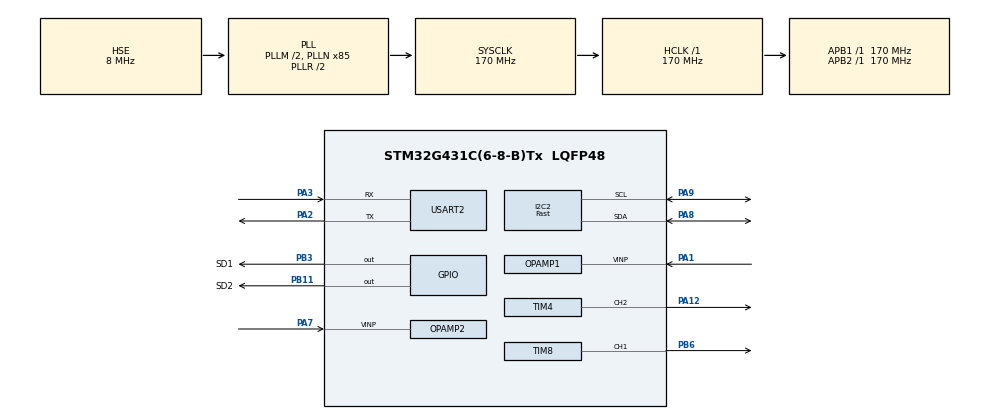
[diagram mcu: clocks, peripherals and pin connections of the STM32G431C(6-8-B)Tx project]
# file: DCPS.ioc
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ADC1.Channel-0\#ChannelRegularConversion=ADC_CHANNEL_VOPAMP1
ADC1.ContinuousConvMode=ENABLE
ADC1.DMAContinuousRequests=DISABLE
ADC1.NbrOfConversion=1
ADC1.NbrOfConversionFlag=1
ADC1.OffsetNumber-0\#ChannelRegularConversion=ADC_OFFSET_NONE
ADC1.Overrun=ADC_OVR_DATA_OVERWRITTEN
ADC1.OversamplingMode=ENABLE
ADC1.Rank-0\#ChannelRegularConversion=1
ADC1.Ratio=ADC_OVERSAMPLING_RATIO_8
ADC1.RightBitShift=ADC_RIGHTBITSHIFT_3
ADC1.SamplingTime-0\#ChannelRegularConversion=ADC_SAMPLETIME_12CYCLES_5
ADC1.master=1
ADC2.Channel-0\#ChannelRegularConversion=ADC_CHANNEL_VOPAMP2
ADC2.ContinuousConvMode=ENABLE
ADC2.NbrOfConversionFlag=1
ADC2.OffsetNumber-0\#ChannelRegularConversion=ADC_OFFSET_NONE
ADC2.Overrun=ADC_OVR_DATA_OVERWRITTEN
ADC2.OversamplingMode=ENABLE
ADC2.Rank-0\#ChannelRegularConversion=1
ADC2.Ratio=ADC_OVERSAMPLING_RATIO_8
ADC2.RightBitShift=ADC_RIGHTBITSHIFT_3
ADC2.SamplingTime-0\#ChannelRegularConversion=ADC_SAMPLETIME_12CYCLES_5
Dma.Request0=USART2_TX
Dma.Request1=USART2_RX
Dma.USART2_RX.1.Direction=DMA_PERIPH_TO_MEMORY
Dma.USART2_RX.1.EventEnable=DISABLE
Dma.USART2_RX.1.Instance=DMA1_Channel2
Dma.USART2_RX.1.MemDataAlignment=DMA_MDATAALIGN_BYTE
Dma.USART2_RX.1.MemInc=DMA_MINC_ENABLE
Dma.USART2_RX.1.Mode=DMA_NORMAL
Dma.USART2_RX.1.PeriphDataAlignment=DMA_PDATAALIGN_BYTE
Dma.USART2_RX.1.PeriphInc=DMA_PINC_DISABLE
Dma.USART2_RX.1.Polarity=HAL_DMAMUX_REQ_GEN_RISING
Dma.USART2_RX.1.Priority=DMA_PRIORITY_LOW
Dma.USART2_RX.1.RequestNumber=1
Dma.USART2_RX.1.SignalID=NONE
Dma.USART2_RX.1.SyncEnable=DISABLE
Dma.USART2_RX.1.SyncPolarity=HAL_DMAMUX_SYNC_NO_EVENT
Dma.USART2_RX.1.SyncRequestNumber=1
Dma.USART2_RX.1.SyncSignalID=NONE
Dma.USART2_TX.0.Direction=DMA_MEMORY_TO_PERIPH
Dma.USART2_TX.0.EventEnable=DISABLE
Dma.USART2_TX.0.Instance=DMA1_Channel1
Dma.USART2_TX.0.MemDataAlignment=DMA_MDATAALIGN_BYTE
Dma.USART2_TX.0.MemInc=DMA_MINC_ENABLE
Dma.USART2_TX.0.Mode=DMA_NORMAL
Dma.USART2_TX.0.PeriphDataAlignment=DMA_PDATAALIGN_BYTE
Dma.USART2_TX.0.PeriphInc=DMA_PINC_DISABLE
Dma.USART2_TX.0.Polarity=HAL_DMAMUX_REQ_GEN_RISING
Dma.USART2_TX.0.Priority=DMA_PRIORITY_LOW
Dma.USART2_TX.0.RequestNumber=1
Dma.USART2_TX.0.SignalID=NONE
Dma.USART2_TX.0.SyncEnable=DISABLE
Dma.USART2_TX.0.SyncPolarity=HAL_DMAMUX_SYNC_NO_EVENT
Dma.USART2_TX.0.SyncRequestNumber=1
Dma.USART2_TX.0.SyncSignalID=NONE
I2C2.I2C_Speed_Mode=I2C_Fast
I2C2.Timing=0x40621236
Mcu.Family=STM32G4
Mcu.Name=STM32G431C(6-8-B)Tx
Mcu.Package=LQFP48
NVIC.DMA1_Channel1_IRQn=true\:0\:0\:false\:false\:true\:false\:true\:true
NVIC.DMA1_Channel2_IRQn=true\:0\:0\:true\:false\:true\:false\:true\:true
NVIC.PriorityGroup=NVIC_PRIORITYGROUP_4
NVIC.TIM3_IRQn=true\:1\:0\:true\:false\:true\:true\:true\:true
OPAMP1.PowerMode=OPAMP_POWERMODE_HIGHSPEED
OPAMP2.PowerMode=OPAMP_POWERMODE_HIGHSPEED
PA1.Mode=Follower_Internally_Connected
PA1.Signal=OPAMP1_VINP
PA12.Signal=S_TIM4_CH2
PA13.Mode=Serial_Wire
PA13.Signal=SYS_JTMS-SWDIO
PA14.Mode=Serial_Wire
PA14.Signal=SYS_JTCK-SWCLK
PA2.Mode=Asynchronous
PA2.Signal=USART2_TX
PA3.Mode=Asynchronous
PA3.Signal=USART2_RX
PA7.Mode=Follower_Internally_Connected
PA7.Signal=OPAMP2_VINP
PA8.Mode=I2C
PA8.Signal=I2C2_SDA
PA9.Mode=I2C
PA9.Signal=I2C2_SCL
PB11.GPIO_Label=SD2
PB11.Signal=GPIO_Output
PB3.GPIO_Label=SD1
PB3.Signal=GPIO_Output
PB6.Signal=S_TIM8_CH1
PF0-OSC_IN.Mode=HSE-External-Oscillator
PF0-OSC_IN.Signal=RCC_OSC_IN
PF1-OSC_OUT.Mode=HSE-External-Oscillator
PF1-OSC_OUT.Signal=RCC_OSC_OUT
ProjectManager.HeapSize=0x200
ProjectManager.StackSize=0x400
ProjectManager.TargetToolchain=CMake
RCC.ADC12Freq_Value=170000000
RCC.AHBFreq_Value=170000000
RCC.APB1Freq_Value=170000000
RCC.APB1TimFreq_Value=170000000
RCC.APB2Freq_Value=170000000
RCC.APB2TimFreq_Value=170000000
RCC.CortexFreq_Value=170000000
RCC.EXTERNAL_CLOCK_VALUE=12288000
RCC.EnbaleCSS=true
RCC.HCLKFreq_Value=170000000
RCC.HSE_VALUE=8000000
RCC.HSI48_VALUE=48000000
RCC.HSI_VALUE=16000000
RCC.LSE_VALUE=32768
RCC.PLLM=RCC_PLLM_DIV2
RCC.PLLN=85
RCC.PLLSourceVirtual=RCC_PLLSOURCE_HSE
RCC.SYSCLKFreq_VALUE=170000000
RCC.SYSCLKSource=RCC_SYSCLKSOURCE_PLLCLK
RCC.USBFreq_Value=170000000
RCC.VCOOutputFreq_Value=340000000
SH.S_TIM4_CH2.0=TIM4_CH2,PWM Generation2 CH2
SH.S_TIM8_CH1.0=TIM8_CH1,PWM Generation1 CH1
TIM3.PeriodNoDither=2000-1
TIM3.Prescaler=170-1
TIM4.AutoReloadPreload=TIM_AUTORELOAD_PRELOAD_ENABLE
TIM4.Channel-PWM\ Generation2\ CH2=TIM_CHANNEL_2
TIM4.PeriodNoDither=3400-1
TIM8.AutoReloadPreload=TIM_AUTORELOAD_PRELOAD_ENABLE
TIM8.Channel-PWM\ Generation1\ CH1=TIM_CHANNEL_1
TIM8.PeriodNoDither=3400-1
USART2.VirtualMode-Asynchronous=VM_ASYNC
VP_ADC1_OPAMP_INTERNAL1.Mode=IN-OPAMP1
VP_ADC2_OPAMP_INTERNAL2.Mode=IN-OPAMP2
VP_SYS_VS_DBSignals.Mode=DisableDeadBatterySignals
VP_TIM3_VS_ClockSourceINT.Mode=Internal
VP_TIM4_VS_ClockSourceINT.Mode=Internal
VP_TIM8_VS_ClockSourceINT.Mode=Internal
board=custom

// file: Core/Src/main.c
/* USER CODE BEGIN Header */
/**
 ******************************************************************************
 * @file           : main.c
 * @brief          : Main program body
 ******************************************************************************
 * @attention
 *
 * Copyright (c) 2026 STMicroelectronics.
 * All rights reserved.
 *
 * This software is licensed under terms that can be found in the LICENSE file
 * in the root directory of this software component.
 * If no LICENSE file comes with this software, it is provided AS-IS.
 *
 ******************************************************************************
 */
/* USER CODE END Header */
#include "main.h"
#include "adc.h"
#include "dma.h"
#include "i2c.h"
#include "opamp.h"
#include "tim.h"
#include "usart.h"
#include "gpio.h"

/* USER CODE BEGIN Includes */
#include "FSBB.h"
#include "INA226.h"

/* USER CODE END Includes */

/* USER CODE BEGIN PV */
volatile float input_voltage = 0.0f;
volatile float output_voltage = 0.0f;
volatile float current = 0.0f;
volatile float power = 0.0f;
uint8_t measure_flag = 0;
/* USER CODE END PV */

void SystemClock_Config(void);

int main(void)
{

  /* MCU Configuration--------------------------------------------------------*/

  /* Reset of all peripherals, Initializes the Flash interface and the Systick. */
  HAL_Init();

  /* Configure the system clock */
  SystemClock_Config();

  /* Initialize all configured peripherals */
  MX_GPIO_Init();
  MX_DMA_Init();
  MX_ADC1_Init();
  MX_ADC2_Init();
  MX_I2C2_Init();
  MX_OPAMP1_Init();
  MX_OPAMP2_Init();
  MX_TIM8_Init();
  MX_USART2_UART_Init();
  MX_TIM3_Init();
  MX_TIM4_Init();
  /* USER CODE BEGIN 2 */
  ina226_init();
  adc_start();

  fsbb_init();

  __HAL_TIM_CLEAR_FLAG(&htim3, TIM_FLAG_UPDATE);
  HAL_TIM_Base_Start_IT(&htim3);

  /* USER CODE END 2 */

  /* Infinite loop */
  /* USER CODE BEGIN WHILE */
  while (1) {
    if (measure_flag == 1) {
      output_voltage = adc_getvoltageoutput_v();
      input_voltage = adc_getvoltageinput_v();
      current = ina226_getcurrent_A();
      power = current * output_voltage;
      fsbb_run();
      measure_flag = 0;
    }
    /* USER CODE END WHILE */

  }
}

void SystemClock_Config(void)
{
  RCC_OscInitTypeDef RCC_OscInitStruct = {0};
  RCC_ClkInitTypeDef RCC_ClkInitStruct = {0};

  /** Configure the main internal regulator output voltage
  */
  HAL_PWREx_ControlVoltageScaling(PWR_REGULATOR_VOLTAGE_SCALE1_BOOST);

  /** Initializes the RCC Oscillators according to the specified parameters
  * in the RCC_OscInitTypeDef structure.
  */
  RCC_OscInitStruct.OscillatorType = RCC_OSCILLATORTYPE_HSE;
  RCC_OscInitStruct.HSEState = RCC_HSE_ON;
  RCC_OscInitStruct.PLL.PLLState = RCC_PLL_ON;
  RCC_OscInitStruct.PLL.PLLSource = RCC_PLLSOURCE_HSE;
  RCC_OscInitStruct.PLL.PLLM = RCC_PLLM_DIV2;
  RCC_OscInitStruct.PLL.PLLN = 85;
  RCC_OscInitStruct.PLL.PLLP = RCC_PLLP_DIV2;
  RCC_OscInitStruct.PLL.PLLQ = RCC_PLLQ_DIV2;
  RCC_OscInitStruct.PLL.PLLR = RCC_PLLR_DIV2;
  if (HAL_RCC_OscConfig(&RCC_OscInitStruct) != HAL_OK)
  {
    Error_Handler();
  }

  /** Initializes the CPU, AHB and APB buses clocks
  */
  RCC_ClkInitStruct.ClockType = RCC_CLOCKTYPE_HCLK|RCC_CLOCKTYPE_SYSCLK
                              |RCC_CLOCKTYPE_PCLK1|RCC_CLOCKTYPE_PCLK2;
  RCC_ClkInitStruct.SYSCLKSource = RCC_SYSCLKSOURCE_PLLCLK;
  RCC_ClkInitStruct.AHBCLKDivider = RCC_SYSCLK_DIV1;
  RCC_ClkInitStruct.APB1CLKDivider = RCC_HCLK_DIV1;
  RCC_ClkInitStruct.APB2CLKDivider = RCC_HCLK_DIV1;

  if (HAL_RCC_ClockConfig(&RCC_ClkInitStruct, FLASH_LATENCY_4) != HAL_OK)
  {
    Error_Handler();
  }

  /** Enables the Clock Security System
  */
  HAL_RCC_EnableCSS();
}

/* USER CODE BEGIN 4 */
void HAL_TIM_PeriodElapsedCallback(TIM_HandleTypeDef *htim) {
  if (htim->Instance == TIM3) {
    measure_flag = 1;
  }
}
/* USER CODE END 4 */

void Error_Handler(void)
{
  __disable_irq();
  while (1) {
  }
}
#ifdef USE_FULL_ASSERT
/**
  * @brief  Reports the name of the source file and the source line number
  *         where the assert_param error has occurred.
  * @param  file: pointer to the source file name
  * @param  line: assert_param error line source number
  * @retval None
  */
void assert_failed(uint8_t *file, uint32_t line)
{
  /* USER CODE BEGIN 6 */
  /* User can add his own implementation to report the file name and line
     number, ex: printf("Wrong parameters value: file %s on line %d\r\n", file,
     line) */
  /* USER CODE END 6 */
}
#endif /* USE_FULL_ASSERT */
